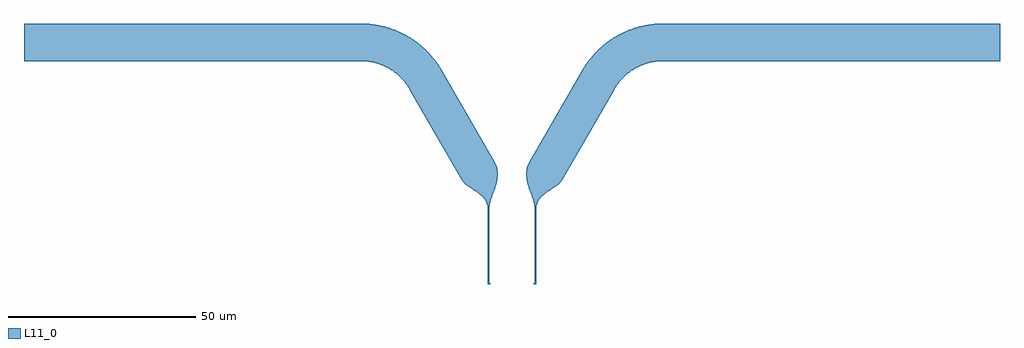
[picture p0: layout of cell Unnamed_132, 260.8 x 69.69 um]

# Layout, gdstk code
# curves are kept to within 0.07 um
from math import pi, radians
import gdstk
lib = gdstk.Library(unit=1e-6, precision=1e-09)
def P(c, l, *ps):  # polygons
    for p in ps: c.add(gdstk.Polygon(p, *l))
L11_0 = (11, 0)

unnamed_135 = lib.new_cell('Unnamed_135')
P(unnamed_135, L11_0, [(0,-5),(0,5),(0.979,4.915),(1.941,4.662),(2.871,4.256),(4.04,3.51),(5.609,2.087),(8.605,-1.334),(10.1,-2.506),(9.9,-2.853),(9.188,-2.536),(8.412,-2.365),(7.589,-2.336),(6.456,-2.499),(4.774,-3.072),(1.405,-4.711)])

unnamed_136 = lib.new_cell('Unnamed_136')
P(unnamed_136, L11_0, [(0,-0.2),(0,0.2),(19.8,0.2),(19.8,0.4),(20.2,0.4),(20.2,-0.2)])

unnamed_134 = lib.new_cell('Unnamed_134')
P(unnamed_134, L11_0, [(117.133,-36.995),(102.269,-11.37),(100.808,-9.599),(99.093,-8.071),(97.166,-6.822),(95.07,-5.883),(92.668,-5.239),(90.192,-5.001),(0,-5),(0,5),(90.319,4.998),(92.55,4.87),(94.446,4.602),(96.316,4.189),(98.45,3.529),(101.662,2.114),(104.643,0.263),(106.151,-0.917),(107.565,-2.21),(109.882,-4.844),(111.643,-7.486),(125.793,-31.995)])

unnamed_133 = lib.new_cell('Unnamed_133')
unnamed_133.add(gdstk.Reference(unnamed_135, (121.463,-34.495), rotation=radians(300)))
unnamed_133.add(gdstk.Reference(unnamed_136, (124.142,-44.495), rotation=3*pi/2))
unnamed_133.add(gdstk.Reference(unnamed_134, (0,0)))

unnamed_132 = lib.new_cell('Unnamed_132')
unnamed_132.add(gdstk.Reference(unnamed_133, (260.8,0), rotation=pi, x_reflection=True))
unnamed_132.add(gdstk.Reference(unnamed_133, (0,0)))

lib.write_gds('Unnamed_132.gds')
